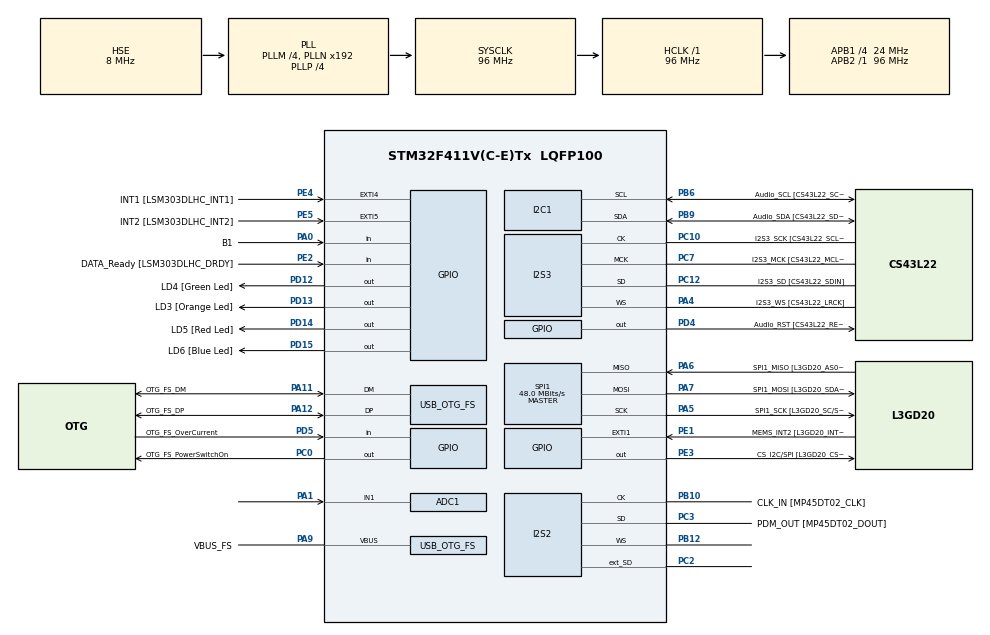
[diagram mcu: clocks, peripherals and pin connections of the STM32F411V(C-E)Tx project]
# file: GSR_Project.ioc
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ADC1.Channel-2\#ChannelRegularConversion=ADC_CHANNEL_1
ADC1.ClockPrescaler=ADC_CLOCK_SYNC_PCLK_DIV4
ADC1.ContinuousConvMode=DISABLE
ADC1.DMAContinuousRequests=DISABLE
ADC1.InjNumberOfConversion=0
ADC1.NbrOfConversion=1
ADC1.NbrOfConversionFlag=1
ADC1.Rank-2\#ChannelRegularConversion=1
ADC1.Resolution=ADC_RESOLUTION_12B
ADC1.SamplingTime-2\#ChannelRegularConversion=ADC_SAMPLETIME_480CYCLES
ADC1.ScanConvMode=DISABLE
ADC1.master=1
I2S2.AudioFreq=I2S_AUDIOFREQ_96K
I2S2.ErrorAudioFreq=0.15 %
I2S2.FullDuplexMode=I2S_FULLDUPLEXMODE_ENABLE
I2S2.Instance=SPI$Index
I2S2.RealAudioFreq=96.153 KHz
I2S2.VirtualMode=I2S_MODE_MASTER
I2S3.AudioFreq=I2S_AUDIOFREQ_96K
I2S3.ErrorAudioFreq=-6.99 %
I2S3.FullDuplexMode=I2S_FULLDUPLEXMODE_DISABLE
I2S3.Instance=SPI$Index
I2S3.RealAudioFreq=89.285 KHz
I2S3.VirtualMode=I2S_MODE_MASTER
Mcu.Family=STM32F4
Mcu.Name=STM32F411V(C-E)Tx
Mcu.Package=LQFP100
NVIC.OTG_FS_IRQn=true\:0\:0\:false\:false\:true\:true\:true\:true
NVIC.PriorityGroup=NVIC_PRIORITYGROUP_0
PA0-WKUP.GPIO_Label=B1
PA0-WKUP.Signal=GPIO_Input
PA1.Signal=ADCx_IN1
PA10.GPIO_Label=OTG_FS_ID
PA10.Signal=USB_OTG_FS_ID
PA11.GPIO_Label=OTG_FS_DM
PA11.Mode=Device_Only
PA11.Signal=USB_OTG_FS_DM
PA12.GPIO_Label=OTG_FS_DP
PA12.Mode=Device_Only
PA12.Signal=USB_OTG_FS_DP
PA13.GPIO_Label=SWDIO
PA13.Mode=Serial_Wire
PA13.Signal=SYS_JTMS-SWDIO
PA14.GPIO_Label=SWCLK
PA14.Mode=Serial_Wire
PA14.Signal=SYS_JTCK-SWCLK
PA4.GPIO_Label=I2S3_WS [CS43L22_LRCK]
PA4.GPIO_Mode=GPIO_MODE_AF_PP
PA4.GPIO_PuPd=GPIO_NOPULL
PA4.GPIO_Speed=GPIO_SPEED_FREQ_LOW
PA4.Mode=Half_Duplex_Master
PA4.Signal=I2S3_WS
PA5.GPIO_Label=SPI1_SCK [L3GD20_SC/SPC]
PA5.Mode=Full_Duplex_Master
PA5.Signal=SPI1_SCK
PA6.GPIO_Label=SPI1_MISO [L3GD20_AS0/SDO]
PA6.Mode=Full_Duplex_Master
PA6.Signal=SPI1_MISO
PA7.GPIO_Label=SPI1_MOSI [L3GD20_SDA/SDI/SDO]
PA7.Mode=Full_Duplex_Master
PA7.Signal=SPI1_MOSI
PA9.GPIO_Label=VBUS_FS
PA9.Mode=Activate_VBUS
PA9.Signal=USB_OTG_FS_VBUS
PB10.GPIO_Label=CLK_IN [MP45DT02_CLK]
PB10.Mode=Full_Duplex_Master
PB10.Signal=I2S2_CK
PB12.Mode=Full_Duplex_Master
PB12.Signal=I2S2_WS
PB3.GPIO_Label=SWO
PB3.Signal=SYS_JTDO-SWO
PB6.GPIO_Label=Audio_SCL [CS43L22_SCL]
PB6.GPIO_Mode=GPIO_MODE_AF_OD
PB6.GPIO_Pu=GPIO_PULLUP
PB6.GPIO_PuPd=GPIO_NOPULL
PB6.GPIO_Speed=GPIO_SPEED_FREQ_LOW
PB6.Mode=I2C
PB6.Signal=I2C1_SCL
PB9.GPIO_Label=Audio_SDA [CS43L22_SDA]
PB9.GPIO_Mode=GPIO_MODE_AF_OD
PB9.GPIO_Pu=GPIO_PULLUP
PB9.GPIO_PuPd=GPIO_NOPULL
PB9.GPIO_Speed=GPIO_SPEED_FREQ_LOW
PB9.Mode=I2C
PB9.Signal=I2C1_SDA
PC0.GPIO_Label=OTG_FS_PowerSwitchOn
PC0.PinState=GPIO_PIN_SET
PC0.Signal=GPIO_Output
PC10.GPIO_Label=I2S3_SCK [CS43L22_SCLK]
PC10.GPIO_Mode=GPIO_MODE_AF_PP
PC10.GPIO_PuPd=GPIO_NOPULL
PC10.GPIO_Speed=GPIO_SPEED_FREQ_LOW
PC10.Mode=Half_Duplex_Master
PC10.Signal=I2S3_CK
PC12.GPIO_Label=I2S3_SD [CS43L22_SDIN]
PC12.GPIO_Mode=GPIO_MODE_AF_PP
PC12.GPIO_PuPd=GPIO_NOPULL
PC12.GPIO_Speed=GPIO_SPEED_FREQ_LOW
PC12.Mode=Half_Duplex_Master
PC12.Signal=I2S3_SD
PC14-OSC32_IN.GPIO_Label=PC14-OSC32_IN
PC14-OSC32_IN.Mode=LSE-External-Oscillator
PC14-OSC32_IN.Signal=RCC_OSC32_IN
PC15-OSC32_OUT.GPIO_Label=PC15-OSC32_OUT
PC15-OSC32_OUT.Mode=LSE-External-Oscillator
PC15-OSC32_OUT.Signal=RCC_OSC32_OUT
PC2.Mode=Full_Duplex_Master
PC2.Signal=I2S2_ext_SD
PC3.GPIO_Label=PDM_OUT [MP45DT02_DOUT]
PC3.Mode=Full_Duplex_Master
PC3.Signal=I2S2_SD
PC7.GPIO_Label=I2S3_MCK [CS43L22_MCLK]
PC7.GPIO_Mode=GPIO_MODE_AF_PP
PC7.GPIO_PuPd=GPIO_NOPULL
PC7.GPIO_Speed=GPIO_SPEED_FREQ_LOW
PC7.Mode=Master_Clock_Activated
PC7.Signal=I2S3_MCK
PD12.GPIO_Label=LD4 [Green Led]
PD12.GPIO_PuPd=GPIO_NOPULL
PD12.GPIO_Speed=GPIO_SPEED_FREQ_LOW
PD12.Signal=GPIO_Output
PD13.GPIO_Label=LD3 [Orange Led]
PD13.GPIO_PuPd=GPIO_NOPULL
PD13.GPIO_Speed=GPIO_SPEED_FREQ_LOW
PD13.Signal=GPIO_Output
PD14.GPIO_Label=LD5 [Red Led]
PD14.GPIO_PuPd=GPIO_NOPULL
PD14.GPIO_Speed=GPIO_SPEED_FREQ_LOW
PD14.Signal=GPIO_Output
PD15.GPIO_Label=LD6 [Blue Led]
PD15.GPIO_PuPd=GPIO_NOPULL
PD15.GPIO_Speed=GPIO_SPEED_FREQ_LOW
PD15.Signal=GPIO_Output
PD4.GPIO_Label=Audio_RST [CS43L22_RESET]
PD4.Signal=GPIO_Output
PD5.GPIO_Label=OTG_FS_OverCurrent
PD5.Signal=GPIO_Input
PE1.GPIO_Label=MEMS_INT2 [L3GD20_INT2]
PE1.GPIO_ModeDefaultEXTI=GPIO_MODE_EVT_RISING
PE1.Signal=GPXTI1
PE2.GPIO_Label=DATA_Ready [LSM303DLHC_DRDY]
PE2.Signal=GPIO_Input
PE3.GPIO_Label=CS_I2C/SPI [L3GD20_CS_I2C/SPI]
PE3.Signal=GPIO_Output
PE4.GPIO_Label=INT1 [LSM303DLHC_INT1]
PE4.GPIO_ModeDefaultEXTI=GPIO_MODE_EVT_RISING
PE4.Signal=GPXTI4
PE5.GPIO_Label=INT2 [LSM303DLHC_INT2]
PE5.GPIO_ModeDefaultEXTI=GPIO_MODE_EVT_RISING
PE5.Signal=GPXTI5
PH0\ -\ OSC_IN.GPIO_Label=PH0-OSC_IN
PH0\ -\ OSC_IN.Mode=HSE-External-Oscillator
PH0\ -\ OSC_IN.Signal=RCC_OSC_IN
PH1\ -\ OSC_OUT.GPIO_Label=PH1-OSC_OUT
PH1\ -\ OSC_OUT.Mode=HSE-External-Oscillator
PH1\ -\ OSC_OUT.Signal=RCC_OSC_OUT
ProjectManager.HeapSize=0x200
ProjectManager.StackSize=0x400
ProjectManager.TargetToolchain=STM32CubeIDE
RCC.48MHZClocksFreq_Value=48000000
RCC.AHBFreq_Value=96000000
RCC.APB1CLKDivider=RCC_HCLK_DIV4
RCC.APB1Freq_Value=24000000
RCC.APB1TimFreq_Value=48000000
RCC.APB2Freq_Value=96000000
RCC.APB2TimFreq_Value=96000000
RCC.CortexFreq_Value=96000000
RCC.HCLKFreq_Value=96000000
RCC.HSE_VALUE=8000000
RCC.HSI_VALUE=16000000
RCC.PLLI2SM=5
RCC.PLLI2SN=200
RCC.PLLM=4
RCC.PLLP=RCC_PLLP_DIV4
RCC.PLLQ=8
RCC.SYSCLKFreq_VALUE=96000000
RCC.SYSCLKSource=RCC_SYSCLKSOURCE_PLLCLK
RCC.VCOOutputFreq_Value=384000000
SH.ADCx_IN1.0=ADC1_IN1,IN1
SPI1.BaudRatePrescaler=SPI_BAUDRATEPRESCALER_2
SPI1.CalculateBaudRate=48.0 MBits/s
SPI1.Direction=SPI_DIRECTION_2LINES
SPI1.Mode=SPI_MODE_MASTER
SPI1.VirtualType=VM_MASTER
USB_DEVICE.CLASS_NAME_FS=CDC
USB_DEVICE.VirtualMode=Cdc
USB_DEVICE.VirtualModeFS=Cdc_FS
USB_OTG_FS.VirtualMode=Device_Only
VP_USB_DEVICE_VS_USB_DEVICE_CDC_FS.Mode=CDC_FS
board=STM32F411E-DISCO

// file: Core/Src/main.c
/* USER CODE BEGIN Header */
/**
  ******************************************************************************
  * @file           : main.c
  * @brief          : Main program body
  ******************************************************************************
  * @attention
  *
  * Copyright (c) 2022 STMicroelectronics.
  * All rights reserved.
  *
  * This software is licensed under terms that can be found in the LICENSE file
  * in the root directory of this software component.
  * If no LICENSE file comes with this software, it is provided AS-IS.
  *
  ******************************************************************************
  */
/* USER CODE END Header */
#include "main.h"
#include "usb_device.h"

 ADC_HandleTypeDef hadc1;

I2C_HandleTypeDef hi2c1;

I2S_HandleTypeDef hi2s2;
I2S_HandleTypeDef hi2s3;

SPI_HandleTypeDef hspi1;

/* USER CODE BEGIN PV */
uint8_t UsbSend[60]; // Tablica zawierajaca dane do wyslania
uint8_t UsbLen = 0; // Zawiera dlugosc wysylanej wiadomosci

uint8_t row=0;
uint8_t col=0;
/* USER CODE END PV */

void SystemClock_Config(void);
void PeriphCommonClock_Config(void);
static void MX_GPIO_Init(void);
static void MX_I2C1_Init(void);
static void MX_I2S2_Init(void);
static void MX_I2S3_Init(void);
static void MX_SPI1_Init(void);
static void MX_ADC1_Init(void);
/* USER CODE BEGIN PFP */
float AnalogToResistance(uint16_t AnalogSingal);
void HAL_ADC_ConvCpltCallback(ADC_HandleTypeDef* hadc);
/* USER CODE END PFP */

/* USER CODE BEGIN 0 */
uint16_t GsrRead;
float Resistance, Time;

/*
void HAL_ADC_ConvCpltCallback(ADC_HandleTypeDef* hadc)
{
	uint16_t a = HAL_GetTick();
	GsrRead = HAL_ADC_GetValue(&hadc1);
	Resistance = AnalogToResistance(GsrRead);
	UsbDlugosc = sprintf(UsbWyslij, "Odczyt: %d \n\r", a);
	CDC_Transmit_FS(UsbWyslij, UsbDlugosc);
}
*/

/* USER CODE END 0 */

int main(void)
{
  /* USER CODE BEGIN 1 */
	uint8_t Mode = 0;
  /* USER CODE END 1 */

  /* MCU Configuration--------------------------------------------------------*/

  /* Reset of all peripherals, Initializes the Flash interface and the Systick. */
  HAL_Init();

  /* Configure the system clock */
  SystemClock_Config();

/* Configure the peripherals common clocks */
  PeriphCommonClock_Config();

  /* Initialize all configured peripherals */
  MX_GPIO_Init();
  MX_I2C1_Init();
  MX_I2S2_Init();
  MX_I2S3_Init();
  MX_SPI1_Init();
  MX_ADC1_Init();
  MX_USB_DEVICE_Init();
  /* USER CODE BEGIN 2 */
  HAL_ADC_Start(&hadc1);
  /* USER CODE END 2 */

  /* Infinite loop */
  while (1)
  {

    /* USER CODE BEGIN 3 */

	  if (HAL_GPIO_ReadPin(B1_GPIO_Port, B1_Pin))
	  {
		  if(Mode)
		  {Mode = 0;}
		  else
		  {Mode = 1;}
		  HAL_Delay(400);
		  uwTick = 0;
	  }
	  if (Mode)
	  {
		  if (HAL_ADC_PollForConversion(&hadc1, 10) == HAL_OK)  // Oczekiwanie na zakonczenie konwersji
		  {
			  Resistance = AnalogToResistance(GsrRead);
			  Time = HAL_GetTick()/1000.0;
			  GsrRead = HAL_ADC_GetValue(&hadc1);
			  UsbLen = sprintf(UsbSend, "%.1f; %.2f\n\r", Time, Resistance);
			  CDC_Transmit_FS(UsbSend, UsbLen);
			  HAL_ADC_Start(&hadc1);// Rozpoczecie nowej konwersji
			  HAL_Delay(200);
		  }
	  }

  }

  /* USER CODE END 3 */
}

void SystemClock_Config(void)
{
  RCC_OscInitTypeDef RCC_OscInitStruct = {0};
  RCC_ClkInitTypeDef RCC_ClkInitStruct = {0};

  /** Configure the main internal regulator output voltage
  */
  __HAL_RCC_PWR_CLK_ENABLE();
  __HAL_PWR_VOLTAGESCALING_CONFIG(PWR_REGULATOR_VOLTAGE_SCALE1);

  /** Initializes the RCC Oscillators according to the specified parameters
  * in the RCC_OscInitTypeDef structure.
  */
  RCC_OscInitStruct.OscillatorType = RCC_OSCILLATORTYPE_HSE;
  RCC_OscInitStruct.HSEState = RCC_HSE_ON;
  RCC_OscInitStruct.PLL.PLLState = RCC_PLL_ON;
  RCC_OscInitStruct.PLL.PLLSource = RCC_PLLSOURCE_HSE;
  RCC_OscInitStruct.PLL.PLLM = 4;
  RCC_OscInitStruct.PLL.PLLN = 192;
  RCC_OscInitStruct.PLL.PLLP = RCC_PLLP_DIV4;
  RCC_OscInitStruct.PLL.PLLQ = 8;
  if (HAL_RCC_OscConfig(&RCC_OscInitStruct) != HAL_OK)
  {
    Error_Handler();
  }

  /** Initializes the CPU, AHB and APB buses clocks
  */
  RCC_ClkInitStruct.ClockType = RCC_CLOCKTYPE_HCLK|RCC_CLOCKTYPE_SYSCLK
                              |RCC_CLOCKTYPE_PCLK1|RCC_CLOCKTYPE_PCLK2;
  RCC_ClkInitStruct.SYSCLKSource = RCC_SYSCLKSOURCE_PLLCLK;
  RCC_ClkInitStruct.AHBCLKDivider = RCC_SYSCLK_DIV1;
  RCC_ClkInitStruct.APB1CLKDivider = RCC_HCLK_DIV4;
  RCC_ClkInitStruct.APB2CLKDivider = RCC_HCLK_DIV1;

  if (HAL_RCC_ClockConfig(&RCC_ClkInitStruct, FLASH_LATENCY_3) != HAL_OK)
  {
    Error_Handler();
  }
}

void PeriphCommonClock_Config(void)
{
  RCC_PeriphCLKInitTypeDef PeriphClkInitStruct = {0};

  /** Initializes the peripherals clock
  */
  PeriphClkInitStruct.PeriphClockSelection = RCC_PERIPHCLK_I2S;
  PeriphClkInitStruct.PLLI2S.PLLI2SN = 200;
  PeriphClkInitStruct.PLLI2S.PLLI2SM = 5;
  PeriphClkInitStruct.PLLI2S.PLLI2SR = 2;
  if (HAL_RCCEx_PeriphCLKConfig(&PeriphClkInitStruct) != HAL_OK)
  {
    Error_Handler();
  }
}

static void MX_ADC1_Init(void)
{

  ADC_ChannelConfTypeDef sConfig = {0};

  /** Configure the global features of the ADC (Clock, Resolution, Data Alignment and number of conversion)
  */
  hadc1.Instance = ADC1;
  hadc1.Init.ClockPrescaler = ADC_CLOCK_SYNC_PCLK_DIV4;
  hadc1.Init.Resolution = ADC_RESOLUTION_12B;
  hadc1.Init.ScanConvMode = DISABLE;
  hadc1.Init.ContinuousConvMode = DISABLE;
  hadc1.Init.DiscontinuousConvMode = DISABLE;
  hadc1.Init.ExternalTrigConvEdge = ADC_EXTERNALTRIGCONVEDGE_NONE;
  hadc1.Init.ExternalTrigConv = ADC_SOFTWARE_START;
  hadc1.Init.DataAlign = ADC_DATAALIGN_RIGHT;
  hadc1.Init.NbrOfConversion = 1;
  hadc1.Init.DMAContinuousRequests = DISABLE;
  hadc1.Init.EOCSelection = ADC_EOC_SINGLE_CONV;
  if (HAL_ADC_Init(&hadc1) != HAL_OK)
  {
    Error_Handler();
  }

  /** Configure for the selected ADC regular channel its corresponding rank in the sequencer and its sample time.
  */
  sConfig.Channel = ADC_CHANNEL_1;
  sConfig.Rank = 1;
  sConfig.SamplingTime = ADC_SAMPLETIME_480CYCLES;
  if (HAL_ADC_ConfigChannel(&hadc1, &sConfig) != HAL_OK)
  {
    Error_Handler();
  }

}

static void MX_I2C1_Init(void)
{

  hi2c1.Instance = I2C1;
  hi2c1.Init.ClockSpeed = 100000;
  hi2c1.Init.DutyCycle = I2C_DUTYCYCLE_2;
  hi2c1.Init.OwnAddress1 = 0;
  hi2c1.Init.AddressingMode = I2C_ADDRESSINGMODE_7BIT;
  hi2c1.Init.DualAddressMode = I2C_DUALADDRESS_DISABLE;
  hi2c1.Init.OwnAddress2 = 0;
  hi2c1.Init.GeneralCallMode = I2C_GENERALCALL_DISABLE;
  hi2c1.Init.NoStretchMode = I2C_NOSTRETCH_DISABLE;
  if (HAL_I2C_Init(&hi2c1) != HAL_OK)
  {
    Error_Handler();
  }

}

static void MX_I2S2_Init(void)
{

  hi2s2.Instance = SPI2;
  hi2s2.Init.Mode = I2S_MODE_MASTER_TX;
  hi2s2.Init.Standard = I2S_STANDARD_PHILIPS;
  hi2s2.Init.DataFormat = I2S_DATAFORMAT_16B;
  hi2s2.Init.MCLKOutput = I2S_MCLKOUTPUT_DISABLE;
  hi2s2.Init.AudioFreq = I2S_AUDIOFREQ_96K;
  hi2s2.Init.CPOL = I2S_CPOL_LOW;
  hi2s2.Init.ClockSource = I2S_CLOCK_PLL;
  hi2s2.Init.FullDuplexMode = I2S_FULLDUPLEXMODE_ENABLE;
  if (HAL_I2S_Init(&hi2s2) != HAL_OK)
  {
    Error_Handler();
  }

}

static void MX_I2S3_Init(void)
{

  hi2s3.Instance = SPI3;
  hi2s3.Init.Mode = I2S_MODE_MASTER_TX;
  hi2s3.Init.Standard = I2S_STANDARD_PHILIPS;
  hi2s3.Init.DataFormat = I2S_DATAFORMAT_16B;
  hi2s3.Init.MCLKOutput = I2S_MCLKOUTPUT_ENABLE;
  hi2s3.Init.AudioFreq = I2S_AUDIOFREQ_96K;
  hi2s3.Init.CPOL = I2S_CPOL_LOW;
  hi2s3.Init.ClockSource = I2S_CLOCK_PLL;
  hi2s3.Init.FullDuplexMode = I2S_FULLDUPLEXMODE_DISABLE;
  if (HAL_I2S_Init(&hi2s3) != HAL_OK)
  {
    Error_Handler();
  }

}

static void MX_SPI1_Init(void)
{

  /* SPI1 parameter configuration*/
  hspi1.Instance = SPI1;
  hspi1.Init.Mode = SPI_MODE_MASTER;
  hspi1.Init.Direction = SPI_DIRECTION_2LINES;
  hspi1.Init.DataSize = SPI_DATASIZE_8BIT;
  hspi1.Init.CLKPolarity = SPI_POLARITY_LOW;
  hspi1.Init.CLKPhase = SPI_PHASE_1EDGE;
  hspi1.Init.NSS = SPI_NSS_SOFT;
  hspi1.Init.BaudRatePrescaler = SPI_BAUDRATEPRESCALER_2;
  hspi1.Init.FirstBit = SPI_FIRSTBIT_MSB;
  hspi1.Init.TIMode = SPI_TIMODE_DISABLE;
  hspi1.Init.CRCCalculation = SPI_CRCCALCULATION_DISABLE;
  hspi1.Init.CRCPolynomial = 10;
  if (HAL_SPI_Init(&hspi1) != HAL_OK)
  {
    Error_Handler();
  }

}

static void MX_GPIO_Init(void)
{
  GPIO_InitTypeDef GPIO_InitStruct = {0};

  /* GPIO Ports Clock Enable */
  __HAL_RCC_GPIOE_CLK_ENABLE();
  __HAL_RCC_GPIOC_CLK_ENABLE();
  __HAL_RCC_GPIOH_CLK_ENABLE();
  __HAL_RCC_GPIOA_CLK_ENABLE();
  __HAL_RCC_GPIOB_CLK_ENABLE();
  __HAL_RCC_GPIOD_CLK_ENABLE();

  /*Configure GPIO pin Output Level */
  HAL_GPIO_WritePin(CS_I2C_SPI_GPIO_Port, CS_I2C_SPI_Pin, GPIO_PIN_RESET);

  /*Configure GPIO pin Output Level */
  HAL_GPIO_WritePin(OTG_FS_PowerSwitchOn_GPIO_Port, OTG_FS_PowerSwitchOn_Pin, GPIO_PIN_SET);

  /*Configure GPIO pin Output Level */
  HAL_GPIO_WritePin(GPIOD, LD4_Pin|LD3_Pin|LD5_Pin|LD6_Pin
                          |Audio_RST_Pin, GPIO_PIN_RESET);

  /*Configure GPIO pin : DATA_Ready_Pin */
  GPIO_InitStruct.Pin = DATA_Ready_Pin;
  GPIO_InitStruct.Mode = GPIO_MODE_INPUT;
  GPIO_InitStruct.Pull = GPIO_NOPULL;
  HAL_GPIO_Init(DATA_Ready_GPIO_Port, &GPIO_InitStruct);

  /*Configure GPIO pin : CS_I2C_SPI_Pin */
  GPIO_InitStruct.Pin = CS_I2C_SPI_Pin;
  GPIO_InitStruct.Mode = GPIO_MODE_OUTPUT_PP;
  GPIO_InitStruct.Pull = GPIO_NOPULL;
  GPIO_InitStruct.Speed = GPIO_SPEED_FREQ_LOW;
  HAL_GPIO_Init(CS_I2C_SPI_GPIO_Port, &GPIO_InitStruct);

  /*Configure GPIO pins : INT1_Pin INT2_Pin MEMS_INT2_Pin */
  GPIO_InitStruct.Pin = INT1_Pin|INT2_Pin|MEMS_INT2_Pin;
  GPIO_InitStruct.Mode = GPIO_MODE_EVT_RISING;
  GPIO_InitStruct.Pull = GPIO_NOPULL;
  HAL_GPIO_Init(GPIOE, &GPIO_InitStruct);

  /*Configure GPIO pin : OTG_FS_PowerSwitchOn_Pin */
  GPIO_InitStruct.Pin = OTG_FS_PowerSwitchOn_Pin;
  GPIO_InitStruct.Mode = GPIO_MODE_OUTPUT_PP;
  GPIO_InitStruct.Pull = GPIO_NOPULL;
  GPIO_InitStruct.Speed = GPIO_SPEED_FREQ_LOW;
  HAL_GPIO_Init(OTG_FS_PowerSwitchOn_GPIO_Port, &GPIO_InitStruct);

  /*Configure GPIO pin : B1_Pin */
  GPIO_InitStruct.Pin = B1_Pin;
  GPIO_InitStruct.Mode = GPIO_MODE_INPUT;
  GPIO_InitStruct.Pull = GPIO_NOPULL;
  HAL_GPIO_Init(B1_GPIO_Port, &GPIO_InitStruct);

  /*Configure GPIO pins : LD4_Pin LD3_Pin LD5_Pin LD6_Pin
                           Audio_RST_Pin */
  GPIO_InitStruct.Pin = LD4_Pin|LD3_Pin|LD5_Pin|LD6_Pin
                          |Audio_RST_Pin;
  GPIO_InitStruct.Mode = GPIO_MODE_OUTPUT_PP;
  GPIO_InitStruct.Pull = GPIO_NOPULL;
  GPIO_InitStruct.Speed = GPIO_SPEED_FREQ_LOW;
  HAL_GPIO_Init(GPIOD, &GPIO_InitStruct);

  /*Configure GPIO pin : OTG_FS_OverCurrent_Pin */
  GPIO_InitStruct.Pin = OTG_FS_OverCurrent_Pin;
  GPIO_InitStruct.Mode = GPIO_MODE_INPUT;
  GPIO_InitStruct.Pull = GPIO_NOPULL;
  HAL_GPIO_Init(OTG_FS_OverCurrent_GPIO_Port, &GPIO_InitStruct);

}

/* USER CODE BEGIN 4 */
float AnalogToResistance(uint16_t AnalogSingal)
{
	float Resistance = ((4096+2 * AnalogSingal) * 10000)/(2048 - AnalogSingal);
	return Resistance;
}

/* USER CODE END 4 */

void Error_Handler(void)
{
  __disable_irq();
  while (1)
  {
  }
}
